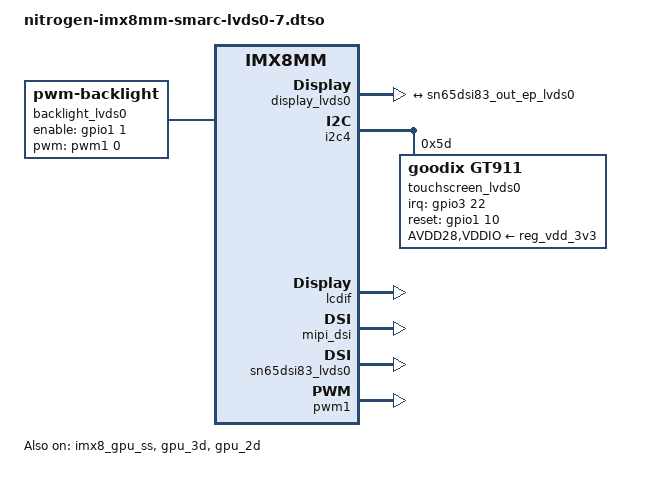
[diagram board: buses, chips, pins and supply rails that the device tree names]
// SPDX-License-Identifier: (GPL-2.0-or-later OR MIT)
/*
 * Copyright 2026 Ezurio
 */

/dts-v1/;
/plugin/;

#include <dt-bindings/gpio/gpio.h>
#include <dt-bindings/interrupt-controller/irq.h>

#include "imx8mm-pinfunc.h"

#include "nitrogen-imx8mm-bd-panel.dtsi"

&{/} {
	backlight_lvds0: backlight-lvds0 {
		brightness-levels = <0 1 2 3 4 5 6 7 8 9 10>;
		compatible = "pwm-backlight";
		default-brightness-level = <8>;

		pwms = <&pwm1 0 30000 0>;	/* 33.3 KHz */

		pinctrl-names = "default";
		pinctrl-0 = <&pinctrl_lvds0_backlight>;
		enable-gpios = <&gpio1 1 GPIO_ACTIVE_HIGH>;
	};

	display_lvds0: display-lvds0 {
		compatible = "panel-lvds";
		data-mapping = "vesa-24";

		backlight = <&backlight_lvds0>;

		width-mm = <150>;
		height-mm = <94>;

		panel-timing {
			BD_PANEL_TIMING
		};

		port {
			display_in_ep_lvds0: endpoint {
				remote-endpoint = <&sn65dsi83_out_ep_lvds0>;
			};
		};
	};
};

&i2c4 {
	#address-cells = <1>;
	#size-cells = <0>;

	status = "okay";

	touchscreen_lvds0: touchscreen-lvds0@5d {
		compatible = "goodix,gt911";
		reg = <0x5d>;

		AVDD28-supply = <&reg_vdd_3v3>;
		VDDIO-supply = <&reg_vdd_3v3>;

		pinctrl-names = "default";
		pinctrl-0 = <&pinctrl_touchscreen_lvds0>;
		interrupts-extended = <&gpio3 22 IRQ_TYPE_EDGE_FALLING>;
		interrupt-names = "irq";
		irq-gpios = <&gpio3 22 GPIO_ACTIVE_HIGH>;
		reset-gpios = <&gpio1 10 GPIO_ACTIVE_HIGH>;

		touchscreen-min-x = <0>;
		touchscreen-min-y = <0>;
		touchscreen-size-x = <1280>;
		touchscreen-size-y = <800>;
	};
};

&iomuxc {
	pinctrl_touchscreen_lvds0: touchscreen-lvds0grp {
		fsl,pins = <
			MX8MM_IOMUXC_GPIO1_IO10_GPIO1_IO10	0x100
			MX8MM_IOMUXC_SAI5_RXD1_GPIO3_IO22	0x1c0
		>;
	};
};

&{/display-subsystem} {
	status = "okay";
};

&lcdif {
	status = "okay";
};

&mipi_dsi {
	status = "okay";
};

&sn65dsi83_lvds0 {
	status = "okay";
};

&sn65dsi83_out_ep_lvds0 {
	remote-endpoint = <&display_in_ep_lvds0>;
};

&pwm1 {
	status = "okay";
};

&imx8_gpu_ss {
	status = "okay";
};

&gpu_3d {
	status = "okay";
};

&gpu_2d {
	status = "okay";
};
